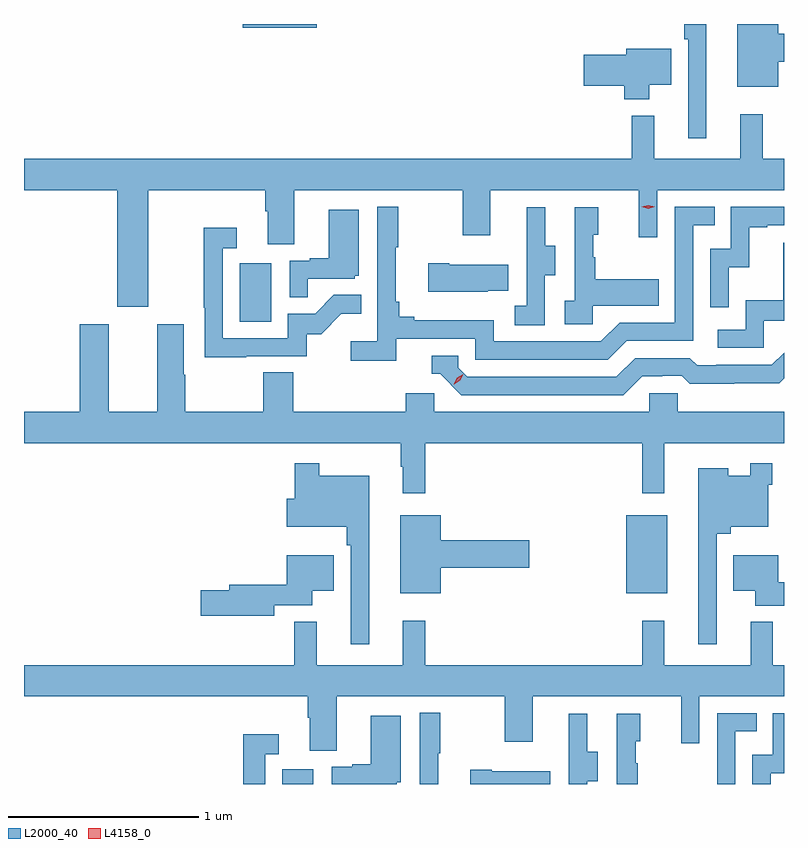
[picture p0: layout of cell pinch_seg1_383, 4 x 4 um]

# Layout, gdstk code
import gdstk
lib = gdstk.Library(unit=1e-6, precision=1e-09)
def R(c, l, rs):  # rectangles x0, y0, x1, y1
    for r in rs: c.add(gdstk.rectangle(r[:2], r[2:], *l))
def P(c, l, *ps):  # polygons
    for p in ps: c.add(gdstk.Polygon(p, *l))
L2000_40 = (2000, 40)
L4158_0 = (4158, 0)

pinch_seg1_383 = lib.new_cell('pinch_seg1_383')
R(pinch_seg1_383, L2000_40, [(988.718,525.962,988.882,526.039), (990.53,526.967,990.745,527.377), (988.496,528.396,988.66,528.703), (988.512,529.943,988.9,529.962)])
P(pinch_seg1_383, L2000_40, [(990.952,529.962),(990.835,529.962),(990.835,529.883),(990.855,529.883),(990.855,529.362),(990.952,529.362)],
  [(991.33,529.763),(991.36,529.763),(991.36,529.91),(991.33,529.91),(991.33,529.962),(991.115,529.962),(991.115,529.631),(991.33,529.631)],
  [(990.652,529.643),(990.766,529.643),(990.766,529.831),(990.53,529.831),(990.53,529.801),(990.306,529.801),(990.306,529.636),(990.518,529.636),(990.518,529.565),(990.652,529.565)],
  [(988.015,529.088),(988.631,529.088),(988.631,528.976),(988.643,528.976),(988.643,528.802),(988.783,528.802),(988.783,529.088),(989.668,529.088),(989.668,528.849),(989.815,528.849),(989.815,529.088),(990.596,529.088),(990.596,528.84),(990.693,528.84),(990.693,529.088),(991.36,529.088),(991.36,529.252),(991.247,529.252),(991.247,529.486),(991.13,529.486),(991.13,529.252),(990.677,529.252),(990.677,529.48),(990.559,529.48),(990.559,529.252),(987.36,529.252),(987.36,529.088),(987.851,529.088),(987.851,528.474),(988.015,528.474)],
  [(989.318,528.306),(989.736,528.306),(989.736,528.195),(990.433,528.195),(990.532,528.294),(990.882,528.294),(990.882,528.903),(990.995,528.903),(990.995,528.999),(990.786,528.999),(990.786,528.39),(990.495,528.39),(990.396,528.291),(989.832,528.291),(989.832,528.403),(989.413,528.403),(989.413,528.422),(989.336,528.422),(989.336,528.499),(989.317,528.499),(989.317,528.787),(989.329,528.787),(989.329,529),(989.22,529),(989.22,528.292),(989.079,528.292),(989.079,528.19),(989.318,528.19)],
  [(991.068,528.683),(991.178,528.683),(991.178,528.891),(991.273,528.891),(991.273,528.903),(991.36,528.903),(991.36,528.999),(991.08,528.999),(991.08,528.78),(990.972,528.78),(990.972,528.471),(991.068,528.471)],
  [(990.102,528.64),(990.157,528.64),(990.157,528.795),(990.103,528.795),(990.103,528.997),(990.005,528.997),(990.005,528.783),(990.006,528.783),(990.006,528.479),(989.943,528.479),(989.943,528.376),(990.102,528.376)],
  [(990.354,528.479),(990.701,528.479),(990.701,528.619),(990.367,528.619),(990.367,528.734),(990.357,528.734),(990.357,528.852),(990.382,528.852),(990.382,528.997),(990.258,528.997),(990.258,528.506),(990.207,528.506),(990.207,528.381),(990.354,528.381)],
  [(988.853,528.621),(989.1,528.621),(989.1,528.636),(989.122,528.636),(989.122,528.985),(988.964,528.985),(988.964,528.73),(988.865,528.73),(988.865,528.717),(988.758,528.717),(988.758,528.523),(988.853,528.523)],
  [(988.529,528.213),(988.848,528.213),(988.848,528.33),(988.924,528.33),(989.031,528.437),(989.135,528.437),(989.135,528.536),(988.991,528.536),(988.893,528.438),(988.749,528.438),(988.749,528.309),(988.407,528.309),(988.407,528.783),(988.48,528.783),(988.48,528.889),(988.306,528.889),(988.306,528.469),(988.311,528.469),(988.311,528.208),(988.529,528.208)],
  [(991.254,528.399),(991.36,528.399),(991.36,528.811),(991.357,528.811),(991.357,528.508),(991.158,528.508),(991.158,528.354),(991.011,528.354),(991.011,528.258),(991.254,528.258)],
  [(989.801,528.557),(989.909,528.557),(989.909,528.694),(989.599,528.694),(989.599,528.702),(989.487,528.702),(989.487,528.554),(989.801,528.554)],
  [(989.343,527.633),(989.354,527.633),(989.354,527.493),(989.471,527.493),(989.471,527.756),(990.613,527.756),(990.613,527.493),(990.73,527.493),(990.73,527.756),(991.36,527.756),(991.36,527.92),(990.801,527.92),(990.801,528.018),(990.651,528.018),(990.651,527.92),(989.52,527.92),(989.52,528.018),(989.369,528.018),(989.369,527.92),(988.778,527.92),(988.778,528.128),(988.618,528.128),(988.618,527.92),(988.209,527.92),(988.209,528.116),(988.201,528.116),(988.201,528.382),(988.061,528.382),(988.061,527.92),(987.805,527.92),(987.805,528.382),(987.653,528.382),(987.653,527.92),(987.36,527.92),(987.36,527.756),(989.343,527.756)],
  [(990.613,528.108),(990.72,528.108),(990.72,528.111),(990.823,528.111),(990.865,528.069),(991.098,528.069),(991.098,528.071),(991.334,528.071),(991.36,528.097),(991.36,528.232),(991.296,528.168),(991.003,528.168),(991.003,528.165),(990.904,528.165),(990.865,528.204),(990.576,528.204),(990.477,528.105),(989.694,528.105),(989.646,528.153),(989.646,528.216),(989.507,528.216),(989.507,528.12),(989.55,528.12),(989.661,528.009),(990.514,528.009)],
  [(989.176,527.584),(988.915,527.584),(988.915,527.65),(988.786,527.65),(988.786,527.463),(988.742,527.463),(988.742,527.315),(989.059,527.315),(989.059,527.219),(989.079,527.219),(989.079,526.698),(989.176,526.698)],
  [(991.005,527.279),(991.079,527.279),(991.079,527.315),(991.278,527.315),(991.278,527.537),(991.298,527.537),(991.298,527.65),(991.182,527.65),(991.182,527.584),(991.066,527.584),(991.066,527.623),(990.908,527.623),(990.908,526.698),(991.005,526.698)],
  [(989.554,527.099),(990.019,527.099),(990.019,527.246),(989.554,527.246),(989.554,527.377),(989.339,527.377),(989.339,526.967),(989.554,526.967)],
  [(988.678,526.902),(988.876,526.902),(988.876,526.979),(988.99,526.979),(988.99,527.167),(988.742,527.167),(988.742,527.011),(988.439,527.011),(988.439,526.982),(988.29,526.982),(988.29,526.847),(988.678,526.847)],
  [(991.36,527.024),(991.33,527.024),(991.33,527.167),(991.094,527.167),(991.094,526.979),(991.208,526.979),(991.208,526.901),(991.36,526.901)],
  [(989.005,526.424),(989.89,526.424),(989.89,526.185),(990.037,526.185),(990.037,526.424),(990.818,526.424),(990.818,526.176),(990.915,526.176),(990.915,526.424),(991.36,526.424),(991.36,526.588),(991.301,526.588),(991.301,526.816),(991.184,526.816),(991.184,526.588),(990.731,526.588),(990.731,526.822),(990.613,526.822),(990.613,526.588),(989.471,526.588),(989.471,526.822),(989.354,526.822),(989.354,526.588),(988.901,526.588),(988.901,526.817),(988.783,526.817),(988.783,526.588),(987.36,526.588),(987.36,526.424),(988.853,526.424),(988.853,526.312),(988.865,526.312),(988.865,526.138),(989.005,526.138)],
  [(989.539,526.123),(989.551,526.123),(989.551,526.336),(989.442,526.336),(989.442,525.962),(989.539,525.962)],
  [(991.29,526.019),(991.36,526.019),(991.36,526.335),(991.302,526.335),(991.302,526.116),(991.194,526.116),(991.194,525.962),(991.29,525.962)],
  [(991.104,526.239),(991.217,526.239),(991.217,526.335),(991.008,526.335),(991.008,525.962),(991.104,525.962)],
  [(990.324,525.976),(990.379,525.976),(990.379,526.131),(990.325,526.131),(990.325,526.333),(990.227,526.333),(990.227,526.119),(990.228,526.119),(990.228,525.962),(990.324,525.962)],
  [(990.589,526.07),(990.579,526.07),(990.579,526.188),(990.604,526.188),(990.604,526.333),(990.48,526.333),(990.48,525.962),(990.589,525.962)],
  [(989.322,525.972),(989.344,525.972),(989.344,526.321),(989.186,526.321),(989.186,526.066),(989.087,526.066),(989.087,526.053),(988.98,526.053),(988.98,525.962),(989.322,525.962)],
  [(988.629,526.119),(988.702,526.119),(988.702,526.225),(988.513,526.225),(988.513,525.962),(988.629,525.962)],
  [(990.131,526.03),(989.821,526.03),(989.821,526.038),(989.709,526.038),(989.709,525.962),(990.131,525.962)])
P(pinch_seg1_383, L4158_0, [(989.623,528.067),(989.623,528.067),(989.64,528.099),(989.671,528.118),(989.671,528.118),(989.671,528.118),(989.655,528.086),(989.624,528.067)],
  [(990.646,528.989),(990.611,528.999),(990.611,528.999),(990.611,529),(990.646,529.009),(990.681,529),(990.681,528.999),(990.681,528.999)])

lib.write_gds('pinch_seg1_383.gds')
